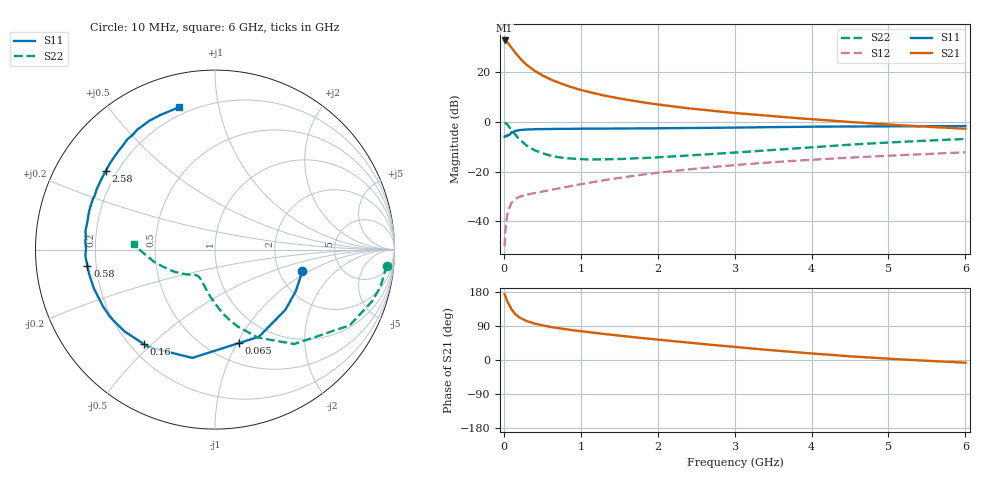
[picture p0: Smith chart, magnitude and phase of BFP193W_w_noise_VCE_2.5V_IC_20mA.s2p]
! Infineon Technologies  Discrete & RF Semiconductors
! BFP193W
! VCE = 2.5 V,  IC =  20 mA
! Common Emitter S-Parameters:  Jan 2016
# GHz  S  MA  R  50
!  f  S11  S21  S12  S22
! GHz  MAG  ANG  MAG  ANG  MAG  ANG  MAG  ANG
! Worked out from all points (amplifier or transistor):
!   210 points, 10 MHz to 6 GHz, reference 50 ohm
!   highest |S21| = 32.6 dB at 10 MHz (marker M1)
!   |S21| within 3 dB of that: start of sweep to 102.9 MHz
!   unconditionally stable (mu >= 1): 936.2 MHz to 3.981 GHz
!   at 185 MHz: K = 0.34, MSG = 28.3 dB, |S12| = -30.4 dB
!   at 1.52 GHz: K = 1.12, MAG = 13.8 dB, |S12| = -22.4 dB
!   at 6 GHz: K = 0.93, MSG = 4.7 dB, |S12| = -12.3 dB
!   lowest NFmin = 1.40 dB at 450 MHz
!   S11 on the Smith chart (normalised r, x): 10 MHz: 2.70, -0.86; 65 MHz: 0.70, -1.02; 160 MHz: 0.25, -0.47; 580 MHz: 0.17, -0.06; 2.58 GHz: 0.16, +0.32; 6 GHz: 0.16, +0.77
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0.01  0.5017 -13.7  42.56 173.3  0.0032 86.9  0.9605 -5.3
0.02  0.5063 -27.4  42.16 168.3  0.0066 79.3  0.9455 -12.5
0.03  0.516 -40.5  41.32 162.8  0.0097 76.6  0.9212 -18.2
0.05  0.5437 -63.2  38.53 152.5  0.0149 67.1  0.8612 -29.3
0.065  0.5376 -75.6  35.75 147.6  0.0173 60.7  0.7989 -34.5
0.1  0.6163 -101.8  30.55 133.2  0.0236 51.3  0.6869 -50.0
0.15  0.6575 -124.3  24.03 120.5  0.0285 43.7  0.5447 -64.1
0.16  0.6589 -127.1  23.05 119.2  0.029 43.0  0.524 -65.7
0.2  0.6796 -137.9  19.31 112.5  0.0311 40.2  0.4463 -73.6
0.26  0.6948 -148.1  15.6 105.9  0.0333 38.1  0.3696 -81.7
0.3  0.6999 -153.4  13.64 102.4  0.0345 37.8  0.3289 -86.3
0.4  0.7089 -162.4  10.49 96.0  0.0372 38.6  0.2685 -94.8
0.58  0.7167 -172.6  7.397 88.4  0.0423 42.1  0.2147 -105.3
0.8  0.7185 179.4  5.396 81.2  0.0492 46.7  0.1865 -113.7
1.02  0.7246 173.6  4.255 75.5  0.0565 49.6  0.1774 -119.8
1.4  0.73 165.3  3.131 66.5  0.0709 52.7  0.1778 -126.5
2.02  0.7394 153.5  2.196 53.3  0.0955 53.8  0.1947 -134.0
2.58  0.7494 144.1  1.736 42.2  0.1179 52.3  0.218 -141.7
3.1  0.7652 135.9  1.455 32.7  0.1388 49.8  0.2463 -148.9
4.1  0.7974 121.8  1.094 15.8  0.1765 43.8  0.3147 -163.6
5.1  0.8098 111.2  0.86 2.3  0.2114 37.6  0.3906 -176.0
6  0.8179 104.2  0.724 -7.1  0.2439 32.4  0.4514 176.2
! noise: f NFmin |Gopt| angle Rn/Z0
0.45  1.4  0.3  160  0.1
0.9  1.45  0.34  172  0.11
1.8  2.2  0.56  -148  0.2
